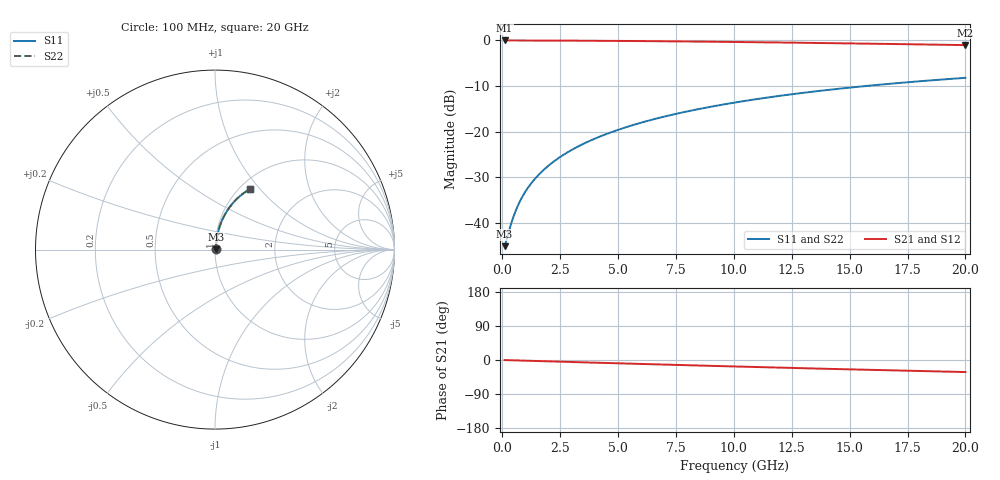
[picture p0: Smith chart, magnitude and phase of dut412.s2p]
! Touchstone file exported from HFSS 2024.1.0
!  File:  C:/UserFiles/LocalFiles/RDL_TSV_Batchsim/temp_RDL_bottom_412_1779683357.aedt
!  Generated:  12:32:01 PM May 25, 2026
!  Design:  RDL_bottom
!  Project:  temp_RDL_bottom_412_1779683357
!  Setup:  Setup1
!  Solution:  Sweep
! Variables:
!  dtsv = 10.80580581um
!  hbump = 3um
!  htsv = 94.07um
!  ldown = 368.5um
!  lrdl = 100um
!  p = 40
!  p1 = 46.27um
!  rhole = 1um
!  t = 450um
!  tdown = 2.18um
!  trdl = 3.915915916um
!  wdown = 12.01um
!  wrdl = 20um
# GHz S MA R 50.000000
! Terminal data exported
! Port[1] = RDL1_T1
! Port[2] = RDL1_T2
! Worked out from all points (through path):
!   200 points, 100 MHz to 20 GHz, reference 50 ohm
!   highest |S21| = -0.05 dB at 100 MHz (marker M1); lowest = -1.1 dB at 20 GHz (marker M2)
!   group delay of S21, straight-line fit = 4.41 ps
!   lowest |S11| = -45.0 dB at 100 MHz (marker M3), VSWR 1.01, Z = 50.5 + j0.22 ohm
!   |S11| at or under -10 dB: start of sweep to 15.7 GHz
!   |S22| runs from -45.0 to -8.2 dB; largest |S21 - S12| = 2.6e-15
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0.1  0.005613 22.9  0.9948 -0.2  0.9948 -0.2  0.005613 22.9
! Gamma 0 0 0 0
! Port Impedance 50 0 50 0
0.4  0.01021 58.2  0.9946 -0.7  0.9946 -0.7  0.01021 58.2
0.5  0.01213 63.1  0.9945 -0.9  0.9945 -0.9  0.01213 63.1
0.6  0.0141 66.6  0.9944 -1.1  0.9944 -1.1  0.0141 66.6
0.7  0.01611 69.1  0.9943 -1.3  0.9943 -1.3  0.01611 69.1
0.9  0.02016 72.6  0.994 -1.6  0.994 -1.6  0.02016 72.6
1.2  0.02628 75.7  0.9936 -2.2  0.9936 -2.2  0.02628 75.7
1.4  0.03037 77.0  0.9933 -2.5  0.9933 -2.5  0.03037 77.0
1.7  0.03651 78.3  0.9928 -3.0  0.9928 -3.0  0.03651 78.3
2.2  0.0468 79.6  0.9919 -3.9  0.9919 -3.9  0.0468 79.6
2.8  0.05919 80.2  0.9906 -5.0  0.9906 -5.0  0.05919 80.3
3.5  0.0737 80.4  0.9888 -6.2  0.9888 -6.2  0.0737 80.4
4.2  0.08825 80.2  0.9866 -7.4  0.9866 -7.4  0.08825 80.2
5  0.1049 79.7  0.9837 -8.8  0.9837 -8.8  0.1049 79.7
5.9  0.1236 78.9  0.9801 -10.3  0.9801 -10.3  0.1236 78.9
6.8  0.1423 78.0  0.9759 -11.8  0.9759 -11.8  0.1423 78.0
8.3  0.1732 76.2  0.9682 -14.3  0.9682 -14.3  0.1732 76.2
10.1  0.2097 73.8  0.9576 -17.2  0.9576 -17.2  0.2097 73.8
11.7  0.2414 71.6  0.9473 -19.7  0.9473 -19.7  0.2414 71.6
13.4  0.274 69.2  0.9356 -22.3  0.9356 -22.3  0.274 69.2
16.7  0.3338 64.6  0.9112 -27.2  0.9112 -27.2  0.3338 64.6
20  0.3884 60.1  0.8853 -31.8  0.8853 -31.8  0.3884 60.1
